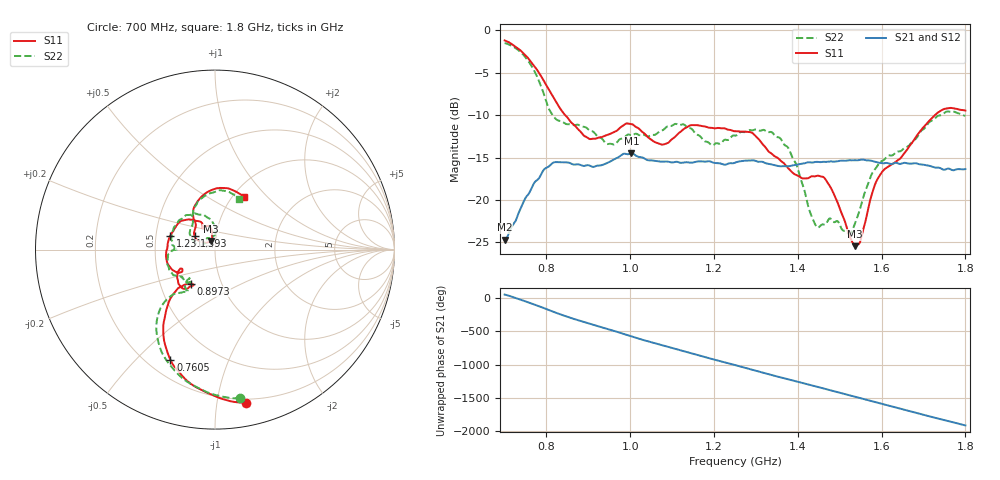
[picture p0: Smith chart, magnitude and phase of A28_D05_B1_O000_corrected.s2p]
! Created with skrf 1.9.0 (http://scikit-rf.org).
# Hz S RI R 50.0
!freq ReS11 ImS11 ReS21 ImS21 ReS12 ImS12 ReS22 ImS22
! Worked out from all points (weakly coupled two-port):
!   1601 points, 700 MHz to 1.8 GHz, reference 50 ohm
!   highest |S21| = -14.53 dB at 1.002 GHz (marker M1); lowest = -24.7 dB at 700.7 MHz (marker M2)
!   lowest |S11| = -25.4 dB at 1.536 GHz (marker M3), VSWR 1.11, Z = 47.4 + j4.53 ohm
!   |S11| at or under -10 dB: 844.5 MHz to 1.727 GHz (882.8 MHz wide, 68.7 % of centre)
!   |S22| runs from -24.0 to -1.5 dB; largest |S21 - S12| = 0.0035
!   S11 on the Smith chart (normalised r, x): 700 MHz: 0.17, -1.21; 760.5 MHz: 0.29, -0.63; 897.3 MHz: 0.71, -0.29; 1.231 GHz: 0.59, +0.09; 1.593 GHz: 0.79, +0.12; 1.8 GHz: 1.12, +0.75
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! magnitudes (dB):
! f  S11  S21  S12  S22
! 700 MHz  -1.2  -24.7  -24.5  -1.5
! 700.7 MHz  -1.2  -24.7  -24.4  -1.5
! 760.5 MHz  -3.6  -19.0  -18.9  -3.9
! 818.2 MHz  -8.0  -15.6  -15.7  -10.2
! 883.6 MHz  -12.1  -15.9  -15.8  -11.3
! 897.3 MHz  -12.7  -15.9  -16.0  -11.6
! 946.1 MHz  -12.3  -15.6  -15.6  -13.4
! 1.002 GHz  -11.0  -14.5  -14.6  -12.4
! 1.067 GHz  -13.3  -15.5  -15.4  -12.0
! 1.145 GHz  -11.2  -15.6  -15.6  -11.6
! 1.231 GHz  -11.7  -15.8  -15.7  -12.9
! 1.25 GHz  -11.9  -15.6  -15.5  -12.4
! 1.358 GHz  -15.3  -16.0  -16.0  -12.7
! 1.396 GHz  -17.1  -15.9  -15.9  -15.7
! 1.434 GHz  -17.2  -15.6  -15.6  -22.0
! 1.474 GHz  -18.2  -15.5  -15.5  -22.2
! 1.536 GHz  -25.4  -15.3  -15.3  -22.8
! 1.55 GHz  -24.8  -15.3  -15.3  -20.8
! 1.593 GHz  -17.3  -15.6  -15.6  -15.7
! 1.617 GHz  -16.0  -15.7  -15.7  -14.8
! 1.735 GHz  -9.7  -16.2  -16.2  -10.1
! 1.8 GHz  -9.5  -16.4  -16.4  -10.1
